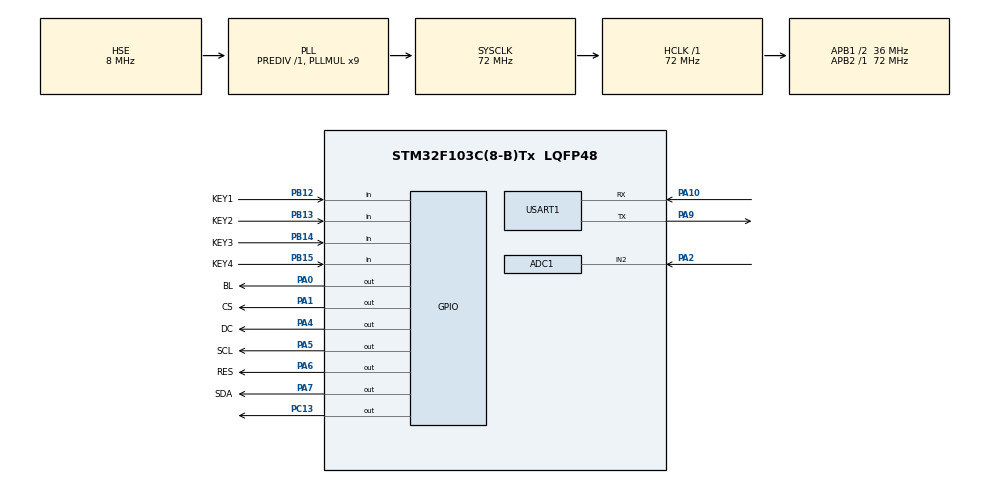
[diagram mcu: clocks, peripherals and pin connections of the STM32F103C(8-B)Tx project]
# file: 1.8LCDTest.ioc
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ADC1.Channel-0\#ChannelRegularConversion=ADC_CHANNEL_2
ADC1.ExternalTrigConv=ADC_EXTERNALTRIGCONV_T3_TRGO
ADC1.NbrOfConversionFlag=1
ADC1.Rank-0\#ChannelRegularConversion=1
ADC1.SamplingTime-0\#ChannelRegularConversion=ADC_SAMPLETIME_13CYCLES_5
ADC1.master=1
Dma.Request0=USART1_RX
Dma.Request1=USART1_TX
Dma.USART1_RX.0.Direction=DMA_PERIPH_TO_MEMORY
Dma.USART1_RX.0.Instance=DMA1_Channel5
Dma.USART1_RX.0.MemDataAlignment=DMA_MDATAALIGN_BYTE
Dma.USART1_RX.0.MemInc=DMA_MINC_ENABLE
Dma.USART1_RX.0.Mode=DMA_NORMAL
Dma.USART1_RX.0.PeriphDataAlignment=DMA_PDATAALIGN_BYTE
Dma.USART1_RX.0.PeriphInc=DMA_PINC_DISABLE
Dma.USART1_RX.0.Priority=DMA_PRIORITY_LOW
Dma.USART1_TX.1.Direction=DMA_MEMORY_TO_PERIPH
Dma.USART1_TX.1.Instance=DMA1_Channel4
Dma.USART1_TX.1.MemDataAlignment=DMA_MDATAALIGN_BYTE
Dma.USART1_TX.1.MemInc=DMA_MINC_ENABLE
Dma.USART1_TX.1.Mode=DMA_NORMAL
Dma.USART1_TX.1.PeriphDataAlignment=DMA_PDATAALIGN_BYTE
Dma.USART1_TX.1.PeriphInc=DMA_PINC_DISABLE
Dma.USART1_TX.1.Priority=DMA_PRIORITY_LOW
FREERTOS.BinarySemaphores01=myBinSem_DataReady,Dynamic,NULL,Available;myBinDMA,Dynamic,NULL,Available
FREERTOS.CountingSemaphores01=Sem_Tables,5,Dynamic,NULL,0
FREERTOS.Tasks01=TaskShow,24,128,AppTaskShow,Default,NULL,Dynamic,NULL,NULL;DMAData,16,128,APP_DMAData,Default,NULL,Dynamic,NULL,NULL
Mcu.Family=STM32F1
Mcu.Name=STM32F103C(8-B)Tx
Mcu.Package=LQFP48
NVIC.ADC1_2_IRQn=true\:5\:0\:false\:false\:true\:true\:true\:true\:true
NVIC.DMA1_Channel4_IRQn=true\:5\:0\:false\:false\:true\:true\:false\:true\:true
NVIC.DMA1_Channel5_IRQn=true\:5\:0\:false\:false\:true\:true\:false\:true\:true
NVIC.PriorityGroup=NVIC_PRIORITYGROUP_4
NVIC.TIM4_IRQn=true\:0\:0\:true\:false\:true\:false\:false\:true\:true
NVIC.TimeBase=TIM4_IRQn
NVIC.TimeBaseIP=TIM4
NVIC.USART1_IRQn=true\:5\:0\:false\:false\:true\:true\:true\:true\:true
PA0-WKUP.GPIO_Label=BL
PA0-WKUP.GPIO_Speed=GPIO_SPEED_FREQ_HIGH
PA0-WKUP.Signal=GPIO_Output
PA1.GPIO_Label=CS
PA1.GPIO_Speed=GPIO_SPEED_FREQ_HIGH
PA1.Signal=GPIO_Output
PA10.GPIO_PuPd=GPIO_PULLUP
PA10.Mode=Asynchronous
PA10.Signal=USART1_RX
PA13.Mode=Serial_Wire
PA13.Signal=SYS_JTMS-SWDIO
PA14.Mode=Serial_Wire
PA14.Signal=SYS_JTCK-SWCLK
PA2.Signal=ADCx_IN2
PA4.GPIO_Label=DC
PA4.GPIO_Speed=GPIO_SPEED_FREQ_HIGH
PA4.Signal=GPIO_Output
PA5.GPIO_Label=SCL
PA5.GPIO_Speed=GPIO_SPEED_FREQ_HIGH
PA5.Signal=GPIO_Output
PA6.GPIO_Label=RES
PA6.GPIO_Speed=GPIO_SPEED_FREQ_HIGH
PA6.Signal=GPIO_Output
PA7.GPIO_Label=SDA
PA7.GPIO_Speed=GPIO_SPEED_FREQ_HIGH
PA7.Signal=GPIO_Output
PA9.Mode=Asynchronous
PA9.Signal=USART1_TX
PB12.GPIO_Label=KEY1
PB12.GPIO_PuPd=GPIO_PULLUP
PB12.Signal=GPIO_Input
PB13.GPIO_Label=KEY2
PB13.GPIO_PuPd=GPIO_PULLUP
PB13.Signal=GPIO_Input
PB14.GPIO_Label=KEY3
PB14.GPIO_PuPd=GPIO_PULLUP
PB14.Signal=GPIO_Input
PB15.GPIO_Label=KEY4
PB15.GPIO_PuPd=GPIO_PULLUP
PB15.Signal=GPIO_Input
PC13-TAMPER-RTC.Signal=GPIO_Output
PC14-OSC32_IN.Mode=LSE-External-Oscillator
PC14-OSC32_IN.Signal=RCC_OSC32_IN
PC15-OSC32_OUT.Mode=LSE-External-Oscillator
PC15-OSC32_OUT.Signal=RCC_OSC32_OUT
PD0-OSC_IN.Mode=HSE-External-Oscillator
PD0-OSC_IN.Signal=RCC_OSC_IN
PD1-OSC_OUT.Mode=HSE-External-Oscillator
PD1-OSC_OUT.Signal=RCC_OSC_OUT
ProjectManager.HeapSize=0x200
ProjectManager.StackSize=0x400
ProjectManager.TargetToolchain=MDK-ARM V5.32
RCC.AHBFreq_Value=72000000
RCC.APB1CLKDivider=RCC_HCLK_DIV2
RCC.APB1Freq_Value=36000000
RCC.APB1TimFreq_Value=72000000
RCC.APB2Freq_Value=72000000
RCC.APB2TimFreq_Value=72000000
RCC.HCLKFreq_Value=72000000
RCC.PLLMUL=RCC_PLL_MUL9
RCC.PLLSourceVirtual=RCC_PLLSOURCE_HSE
RCC.SYSCLKFreq_VALUE=72000000
RCC.SYSCLKSource=RCC_SYSCLKSOURCE_PLLCLK
RCC.USBFreq_Value=72000000
SH.ADCx_IN2.0=ADC1_IN2,IN2
TIM3.Period=5000-1
TIM3.Prescaler=3600-1
TIM3.TIM_MasterOutputTrigger=TIM_TRGO_UPDATE
USART1.VirtualMode=VM_ASYNC
VP_FREERTOS_VS_CMSIS_V2.Mode=CMSIS_V2
VP_SYS_VS_tim4.Mode=TIM4
VP_TIM3_VS_ClockSourceINT.Mode=Internal
board=custom

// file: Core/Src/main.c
/* USER CODE BEGIN Header */
/**
  ******************************************************************************
  * @file           : main.c
  * @brief          : Main program body
  ******************************************************************************
  * @attention
  *
  * Copyright (c) 2024 STMicroelectronics.
  * All rights reserved.
  *
  * This software is licensed under terms that can be found in the LICENSE file
  * in the root directory of this software component.
  * If no LICENSE file comes with this software, it is provided AS-IS.
  *
  ******************************************************************************
  */
/* USER CODE END Header */
#include "main.h"
#include "cmsis_os.h"
#include "adc.h"
#include "dma.h"
#include "tim.h"
#include "usart.h"
#include "gpio.h"

/* USER CODE BEGIN Includes */
#include <string.h>
/* USER CODE END Includes */

void SystemClock_Config(void);
void MX_FREERTOS_Init(void);

/* USER CODE BEGIN 0 */
xUSATR_TypeDef xUSART1 = {0};          // ????????????????????????????
/* USER CODE END 0 */

int main(void)
{

  /* MCU Configuration--------------------------------------------------------*/

  /* Reset of all peripherals, Initializes the Flash interface and the Systick. */
  HAL_Init();

  /* Configure the system clock */
  SystemClock_Config();

  /* Initialize all configured peripherals */
  MX_GPIO_Init();
  MX_DMA_Init();
  MX_USART1_UART_Init();
  MX_ADC1_Init();
  MX_TIM3_Init();
  /* USER CODE BEGIN 2 */
   LCD_Init();
	 Show_Str(10,10,BLUE,YELLOW,"1.8LCDTest",16,1);
   HAL_ADC_Start_IT(&hadc1);
   HAL_TIM_Base_Start_IT(&htim3);//ADC1????
   HAL_UARTEx_ReceiveToIdle_DMA(&huart1, xUSART1.BuffTemp, sizeof(xUSART1.BuffTemp));  // ??DMA????

   //LCD_ShowString(20,50,200,16,16,"Welcome to STemWin!");

  /* USER CODE END 2 */

  /* Init scheduler */
  osKernelInitialize();

  /* Call init function for freertos objects (in cmsis_os2.c) */
  MX_FREERTOS_Init();

  /* Start scheduler */
  osKernelStart();

  /* We should never get here as control is now taken by the scheduler */

  /* Infinite loop */
  while (1)
  {

  }
}

void SystemClock_Config(void)
{
  RCC_OscInitTypeDef RCC_OscInitStruct = {0};
  RCC_ClkInitTypeDef RCC_ClkInitStruct = {0};
  RCC_PeriphCLKInitTypeDef PeriphClkInit = {0};

  /** Initializes the RCC Oscillators according to the specified parameters
  * in the RCC_OscInitTypeDef structure.
  */
  RCC_OscInitStruct.OscillatorType = RCC_OSCILLATORTYPE_HSE;
  RCC_OscInitStruct.HSEState = RCC_HSE_ON;
  RCC_OscInitStruct.HSEPredivValue = RCC_HSE_PREDIV_DIV1;
  RCC_OscInitStruct.HSIState = RCC_HSI_ON;
  RCC_OscInitStruct.PLL.PLLState = RCC_PLL_ON;
  RCC_OscInitStruct.PLL.PLLSource = RCC_PLLSOURCE_HSE;
  RCC_OscInitStruct.PLL.PLLMUL = RCC_PLL_MUL9;
  if (HAL_RCC_OscConfig(&RCC_OscInitStruct) != HAL_OK)
  {
    Error_Handler();
  }

  /** Initializes the CPU, AHB and APB buses clocks
  */
  RCC_ClkInitStruct.ClockType = RCC_CLOCKTYPE_HCLK|RCC_CLOCKTYPE_SYSCLK
                              |RCC_CLOCKTYPE_PCLK1|RCC_CLOCKTYPE_PCLK2;
  RCC_ClkInitStruct.SYSCLKSource = RCC_SYSCLKSOURCE_PLLCLK;
  RCC_ClkInitStruct.AHBCLKDivider = RCC_SYSCLK_DIV1;
  RCC_ClkInitStruct.APB1CLKDivider = RCC_HCLK_DIV2;
  RCC_ClkInitStruct.APB2CLKDivider = RCC_HCLK_DIV1;

  if (HAL_RCC_ClockConfig(&RCC_ClkInitStruct, FLASH_LATENCY_2) != HAL_OK)
  {
    Error_Handler();
  }
  PeriphClkInit.PeriphClockSelection = RCC_PERIPHCLK_ADC;
  PeriphClkInit.AdcClockSelection = RCC_ADCPCLK2_DIV2;
  if (HAL_RCCEx_PeriphCLKConfig(&PeriphClkInit) != HAL_OK)
  {
    Error_Handler();
  }
}

void HAL_TIM_PeriodElapsedCallback(TIM_HandleTypeDef *htim)
{
  if (htim->Instance == TIM4) {
    HAL_IncTick();
  }
}

void Error_Handler(void)
{
  __disable_irq();
  while (1)
  {
  }
}

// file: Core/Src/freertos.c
/* USER CODE BEGIN Header */
/**
  ******************************************************************************
  * File Name          : freertos.c
  * Description        : Code for freertos applications
  ******************************************************************************
  * @attention
  *
  * Copyright (c) 2024 STMicroelectronics.
  * All rights reserved.
  *
  * This software is licensed under terms that can be found in the LICENSE file
  * in the root directory of this software component.
  * If no LICENSE file comes with this software, it is provided AS-IS.
  *
  ******************************************************************************
  */
/* USER CODE END Header */

#include "FreeRTOS.h"
#include "task.h"
#include "main.h"
#include "cmsis_os.h"

/* USER CODE BEGIN Includes */
#include "semphr.h"
#include "usart.h"
/* USER CODE END Includes */

/* USER CODE BEGIN Variables */
uint32_t adc_value;
uint32_t voltage;

float P_value = 0.0;
float I_value = 0.0;
float D_value = 0.0;
/* USER CODE END Variables */
/* Definitions for TaskShow */
osThreadId_t TaskShowHandle;
const osThreadAttr_t TaskShow_attributes = {
  .name = "TaskShow",
  .stack_size = 128 * 4,
  .priority = (osPriority_t) osPriorityNormal,
};
/* Definitions for DMAData */
osThreadId_t DMADataHandle;
const osThreadAttr_t DMAData_attributes = {
  .name = "DMAData",
  .stack_size = 128 * 4,
  .priority = (osPriority_t) osPriorityBelowNormal,
};
/* Definitions for myBinSem_DataReady */
osSemaphoreId_t myBinSem_DataReadyHandle;
const osSemaphoreAttr_t myBinSem_DataReady_attributes = {
  .name = "myBinSem_DataReady"
};
/* Definitions for myBinDMA */
osSemaphoreId_t myBinDMAHandle;
const osSemaphoreAttr_t myBinDMA_attributes = {
  .name = "myBinDMA"
};
/* Definitions for Sem_Tables */
osSemaphoreId_t Sem_TablesHandle;
const osSemaphoreAttr_t Sem_Tables_attributes = {
  .name = "Sem_Tables"
};

void AppTaskShow(void *argument);
void APP_DMAData(void *argument);

void MX_FREERTOS_Init(void); /* (MISRA C 2004 rule 8.1) */

void MX_FREERTOS_Init(void) {

  /* Create the semaphores(s) */
  /* creation of myBinSem_DataReady */
  myBinSem_DataReadyHandle = osSemaphoreNew(1, 1, &myBinSem_DataReady_attributes);

  /* creation of myBinDMA */
  myBinDMAHandle = osSemaphoreNew(1, 1, &myBinDMA_attributes);

  /* creation of Sem_Tables */
  Sem_TablesHandle = osSemaphoreNew(5, 0, &Sem_Tables_attributes);

  /* Create the thread(s) */
  /* creation of TaskShow */
  TaskShowHandle = osThreadNew(AppTaskShow, NULL, &TaskShow_attributes);

  /* creation of DMAData */
  DMADataHandle = osThreadNew(APP_DMAData, NULL, &DMAData_attributes);

}

void AppTaskShow(void *argument)
{
  /* USER CODE BEGIN AppTaskShow */

  /* Infinite loop */
  for(;;)
  {
    if (xSemaphoreTake(myBinSem_DataReadyHandle, portMAX_DELAY) == pdTRUE)//等待信号量，如果信号量可用则返回pdTRUE，否则不执行，任务进入阻塞�??
    {

      LCD_ShowString(10,30,16,"adc_value:",1);
      LCD_ShowNum(90,30,adc_value,4,16);

      voltage = adc_value * 36762  >> 12;
      LCD_ShowString(10,50,16,"Voltage:",1);
      LCD_ShowNum(90,50, voltage,5,16);
      LCD_ShowString(130,50,16,"mV",1);
      //printf("Voltage:%d\n",voltage);

    }

    osDelay(100);
  }
  /* USER CODE END AppTaskShow */
}

void APP_DMAData(void *argument)
{
  /* USER CODE BEGIN APP_DMAData */
  char *data_format = "P:%f, I:%f, D:%f"; // 用于解析的格式字符串
  float P_temp, I_temp, D_temp;           // 临时存储解析到的 PID 参数

  /* Infinite loop */
  for (;;)
  {
    if (xSemaphoreTake(myBinDMAHandle, portMAX_DELAY) == pdTRUE) // 等待信号量，如果信号量可用则返回pdTRUE，否则不执行，任务进入阻塞�??
    {
      if (xUSART1.ReceiveNum) // 判断字节�?
      {
        printf("Received Data: %s\r", (char *)xUSART1.ReceiveData); // 显示接收到的数据

        // 尝试解析接收到的字符串，解析成功时返回解析的参数个数
        if (sscanf((char *)xUSART1.ReceiveData, data_format, &P_temp, &I_temp, &D_temp) == 3)
        {
          // 成功解析到 PID 参数，赋值给全局变量
          P_value = P_temp;
          I_value = I_temp;
          D_value = D_temp;

          // 打印解析后的 PID 值
          printf("Parsed PID values: P = %f, I = %f, D = %f\r", P_value, I_value, D_value);

          // 可以在此添加将解析结果显示到 LCD 的代码
          char buffer[50];
          sprintf(buffer, "P:%.2f I:%.2f D:%.2f", P_value, I_value, D_value);
          LCD_ShowString(10, 70, 16, buffer, 1);
        }
        else
        {
          // 如果解析失败，显示错误信息
          printf("Error: Invalid PID data format\r");
        }

        xUSART1.ReceiveNum = 0; // �?0接收标记
      }
    }
    vTaskDelay(100);
  }
  /* USER CODE END APP_DMAData */
}

/* USER CODE BEGIN Application */

void HAL_ADC_ConvCpltCallback(ADC_HandleTypeDef *hadc)
{
  if(hadc->Instance == ADC1)
  {
    adc_value = HAL_ADC_GetValue(hadc);
    BaseType_t hightaskWoken = pdFALSE;//定义1个变量，来表示推出ISR之前是否�??????要进行一次任务调度申�???????
    if (myBinSem_DataReadyHandle != NULL)
    {
      xSemaphoreGiveFromISR(myBinSem_DataReadyHandle, &hightaskWoken);//在ADC转换完成后释放信号量，ISR中调度任�??????
      portYIELD_FROM_ISR(hightaskWoken);//如果hightaskWoken为pdTRUE，则进行1次任务调�??????
    }

  }
}

//DMA空闲中断回调函数
void HAL_UARTEx_RxEventCallback(UART_HandleTypeDef *huart, uint16_t Size)
{
    if (huart == &huart1)                                                                    // 判断串口
    {
      BaseType_t hightaskWoken = pdFALSE;                                                    // 定义1个变量，来表示推出ISR之前是否需要进行一次任务调度申请
      __HAL_UNLOCK(huart);                                                                   // 解锁串口状态

      xUSART1.ReceiveNum  = Size;                                                            // 把接收字节数，存入结构体xUSART1.ReceiveNum，以备使用
      memset(xUSART1.ReceiveData, 0, sizeof(xUSART1.ReceiveData));                           // 清零前一帧的接收数据
      memcpy(xUSART1.ReceiveData, xUSART1.BuffTemp, Size);                                   // 把新数据，从临时缓存中，复制到xUSART1.ReceiveData[], 以备使用
      HAL_UARTEx_ReceiveToIdle_DMA(&huart1, xUSART1.BuffTemp, sizeof(xUSART1.BuffTemp));     // 再次启动DMA空闲中断; 每当接收完指定长度，或产生空闲中断时，就会来到这里

      //DMA完成一次接收后，释放信号量，通知任务处理数据
      if (myBinDMAHandle != NULL)
      {
        xSemaphoreGiveFromISR(myBinDMAHandle, &hightaskWoken);                               // 释放信号量，通知任务处理数据
        portYIELD_FROM_ISR(hightaskWoken);                                                   // 如果hightaskWoken为pdTRUE，则进行一次任务调度
      }

    }
}

/* USER CODE END Application */
